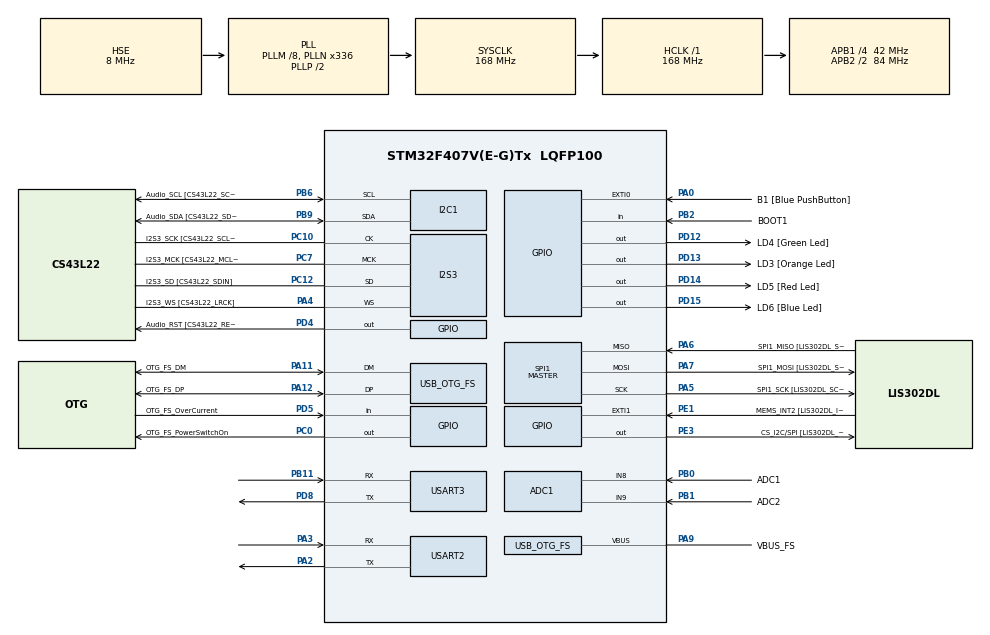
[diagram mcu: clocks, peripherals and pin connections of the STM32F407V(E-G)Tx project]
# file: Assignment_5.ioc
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PA11.GPIO_Speed=GPIO_SPEED_FREQ_LOW
FREERTOS.Queues01=myQueue01,16,uint16_t,0,Dynamic,NULL,NULL;myQueue02,16,uint16_t,0,Dynamic,NULL,NULL
PD12.GPIO_Label=LD4 [Green Led]
PH0-OSC_IN.Signal=RCC_OSC_IN
VP_SYS_VS_tim6.Mode=TIM6
PC10.GPIO_PuPd=GPIO_NOPULL
SPI1.VirtualType=VM_MASTER
PB10.GPIO_PuPd=GPIO_NOPULL
NVIC.TIM6_DAC_IRQn=true\:0\:0\:false\:false\:true\:false\:false\:true
PA10.GPIO_PuPd=GPIO_NOPULL
PC12.Signal=I2S3_SD
PA14.GPIO_Label=SWCLK
PA6.GPIO_Label=SPI1_MISO [LIS302DL_SDO]
PB6.GPIO_Label=Audio_SCL [CS43L22_SCL]
USB_HOST.USBH_USE_OS-CDC_FS=0
PC15-OSC32_OUT.GPIO_Label=PC15-OSC32_OUT
PC3.GPIO_Speed=GPIO_SPEED_FREQ_LOW
RCC.SYSCLKSource=RCC_SYSCLKSOURCE_PLLCLK
PA6.GPIO_Mode=GPIO_MODE_AF_PP
PD14.GPIO_Speed=GPIO_SPEED_FREQ_LOW
FREERTOS.configENABLE_FPU=1
PA4.Mode=Half_Duplex_Master
SPI1.Direction=SPI_DIRECTION_2LINES
I2S3.AudioFreq-Half_Duplex_Master=I2S_AUDIOFREQ_96K
PD4.Signal=GPIO_Output
RCC.APB2TimFreq_Value=168000000
PB6.Signal=I2C1_SCL
Dma.ADC1.0.Direction=DMA_PERIPH_TO_MEMORY
PC7.Signal=I2S3_MCK
PB6.Mode=I2C
PC3.Signal=I2S2_SD
PD8.Signal=USART3_TX
PE1.Signal=GPXTI1
Dma.ADC1.0.MemDataAlignment=DMA_MDATAALIGN_HALFWORD
USB_OTG_FS.phy_itface=HCD_PHY_EMBEDDED
PB2.Signal=GPIO_Input
I2S3.ErrorAudioFreq=-2.34 %
PA5.GPIO_PuPd=GPIO_NOPULL
PB1.GPIO_Label=ADC2
Dma.ADC1.0.PeriphInc=DMA_PINC_DISABLE
I2S3.ErrorAudioFreq-Half_Duplex_Master=0.8 %
SH.ADCx_IN8.0=ADC1_IN8,IN8
PD5.GPIO_Mode=GPIO_MODE_INPUT
PD14.GPIO_PuPd=GPIO_NOPULL
PB2.GPIO_PuPd=GPIO_NOPULL
ADC1.SamplingTime-0\#ChannelRegularConversion=ADC_SAMPLETIME_3CYCLES
SPI1.CalculateBaudRate-Full_Duplex_Master=42.0 MBits/s
Mcu.Package=LQFP100
PB9.Signal=I2C1_SDA
PB1.Signal=ADCx_IN9
NVIC.TimeBase=TIM6_DAC_IRQn
PD12.Signal=GPIO_Output
NVIC.TimeBaseIP=TIM6
PA10.Signal=USB_OTG_FS_ID
PB9.GPIO_PuPd=GPIO_NOPULL
SH.ADCx_IN9.0=ADC1_IN9,IN9
RCC.APB2CLKDivider=RCC_HCLK_DIV2
RCC.APB1TimFreq_Value=84000000
Dma.ADC1.0.FIFOMode=DMA_FIFOMODE_DISABLE
PC12.GPIO_PuPd=GPIO_NOPULL
PA6.GPIO_Speed=GPIO_SPEED_FREQ_LOW
PA12.GPIO_PuPd=GPIO_NOPULL
PA4.GPIO_Label=I2S3_WS [CS43L22_LRCK]
PD15.Signal=GPIO_Output
PC0.PinState=GPIO_PIN_SET
PA5.Mode=Full_Duplex_Master
I2S3.FullDuplexMode=I2S_FULLDUPLEXMODE_DISABLE
Dma.ADC1.0.Instance=DMA2_Stream4
FREERTOS.Tasks01=myTask01,24,128,fvdMyTask01,Default,NULL,Dynamic,NULL,NULL;myTask02,8,128,fvdMyTask02,Default,NULL,Dynamic,NULL,NULL;myTask03,8,128,fvdMyTask03,Default,NULL,Dynamic,NULL,NULL;myTask04,8,128,fvdMyTask04,Default,NULL,Dynamic,NULL,NULL
ADC1.Rank-0\#ChannelRegularConversion=1
PA9.GPIO_Label=VBUS_FS
PB6.GPIO_PuPd=GPIO_NOPULL
PA11.GPIO_Label=OTG_FS_DM
PE1.GPIO_PuPd=GPIO_NOPULL
PC0.Signal=GPIO_Output
RCC.APB1CLKDivider=RCC_HCLK_DIV4
PC14-OSC32_IN.Signal=RCC_OSC32_IN
PA0-WKUP.GPIO_ModeDefaultEXTI=GPIO_MODE_EVT_RISING
PA0-WKUP.GPIO_Label=B1 [Blue PushButton]
PA0-WKUP.Signal=GPXTI0
USB_HOST0.BSP.STBoard=false
PA3.Mode=Asynchronous
PC10.GPIO_Mode=GPIO_MODE_AF_PP
PB10.GPIO_Mode=GPIO_MODE_AF_PP
PB11.Mode=Asynchronous
Dma.ADC1.0.Priority=DMA_PRIORITY_LOW
PA9.Signal=USB_OTG_FS_VBUS
I2S3.VirtualMode=I2S_MODE_MASTER
PC7.GPIO_PuPd=GPIO_NOPULL
PD8.Mode=Asynchronous
PB10.Signal=I2S2_CK
PA5.Signal=SPI1_SCK
PC12.Mode=Half_Duplex_Master
PE1.GPIO_Label=MEMS_INT2 [LIS302DL_INT2]
USB_HOST.VirtualModeFS=Cdc
PA7.GPIO_Speed=GPIO_SPEED_FREQ_LOW
NVIC.SPI1_IRQn=true\:5\:0\:false\:false\:true\:true\:true\:true
PB2.GPIO_Mode=GPIO_MODE_INPUT
SPI1.Mode=SPI_MODE_MASTER
PD4.GPIO_Speed=GPIO_SPEED_FREQ_LOW
PE3.GPIO_PuPd=GPIO_NOPULL
PH1-OSC_OUT.GPIO_Label=PH1-OSC_OUT
PA13.Mode=Serial_Wire
NVIC.DMA2_Stream4_IRQn=true\:0\:0\:false\:false\:true\:false\:false\:true
PC7.GPIO_Label=I2S3_MCK [CS43L22_MCLK]
PA4.Signal=I2S3_WS
PC12.GPIO_Mode=GPIO_MODE_AF_PP
ADC1.master=1
PA5.GPIO_Label=SPI1_SCK [LIS302DL_SCL/SPC]
PE3.GPIO_Speed=GPIO_SPEED_FREQ_LOW
PC12.GPIO_Label=I2S3_SD [CS43L22_SDIN]
PA11.Signal=USB_OTG_FS_DM
ProjectManager.HeapSize=0x200
NVIC.PriorityGroup=NVIC_PRIORITYGROUP_4
PE3.Signal=GPIO_Output
PC3.GPIO_Label=PDM_OUT [MP45DT02_DOUT]
PA0-WKUP.GPIO_PuPd=GPIO_NOPULL
I2S3.Instance=SPI$Index
PB6.GPIO_Speed=GPIO_SPEED_FREQ_LOW
PB0.Signal=ADCx_IN8
SPI1.BaudRatePrescaler-Full_Duplex_Master=SPI_BAUDRATEPRESCALER_2
USB_HOST0.BSP.mode=Output
Mcu.Family=STM32F4
NVIC.USART3_IRQn=true\:5\:0\:false\:false\:true\:true\:true\:true
PC3.GPIO_Mode=GPIO_MODE_AF_PP
PA6.Mode=Full_Duplex_Master
RCC.CortexFreq_Value=168000000
FREERTOS.BinarySemaphores01=BinarySem01,Dynamic,NULL;myBinarySem02,Dynamic,NULL
PB10.GPIO_Speed=GPIO_SPEED_FREQ_LOW
PB6.GPIO_Mode=GPIO_MODE_AF_OD
PD15.GPIO_Speed=GPIO_SPEED_FREQ_LOW
PC10.Signal=I2S3_CK
PA7.GPIO_Mode=GPIO_MODE_AF_PP
PC0.GPIO_Label=OTG_FS_PowerSwitchOn
PA11.Mode=Host_Only
PB0.GPIO_Label=ADC1
PC10.GPIO_Speed=GPIO_SPEED_FREQ_LOW
PA11.GPIO_PuPd=GPIO_NOPULL
PB11.Signal=USART3_RX
ProjectManager.StackSize=0x400
VP_FREERTOS_VS_CMSIS_V2.Mode=CMSIS_V2
SPI1.Mode-Full_Duplex_Master=SPI_MODE_MASTER
VP_TIM7_VS_ClockSourceINT.Mode=Enable_Timer
PD13.Signal=GPIO_Output
NVIC.ADC_IRQn=true\:5\:0\:false\:false\:true\:true\:true\:true
PA12.Signal=USB_OTG_FS_DP
RCC.HCLKFreq_Value=168000000
USB_HOST0.BSP.ip=GPIO
RCC.AHBFreq_Value=168000000
PH0-OSC_IN.Mode=HSE-External-Oscillator
PH0-OSC_IN.GPIO_Label=PH0-OSC_IN
PA9.GPIO_Mode=GPIO_MODE_INPUT
ADC1.Channel-0\#ChannelRegularConversion=ADC_CHANNEL_8
RCC.HSE_VALUE=8000000
PA4.GPIO_PuPd=GPIO_NOPULL
PA4.GPIO_Speed=GPIO_SPEED_FREQ_LOW
PA6.GPIO_PuPd=GPIO_NOPULL
PC14-OSC32_IN.Mode=LSE-External-Oscillator
PA14.Mode=Serial_Wire
PA10.GPIO_Label=OTG_FS_ID
PC7.GPIO_Mode=GPIO_MODE_AF_PP
USB_HOST0.BSP.i2creg=0
PH1-OSC_OUT.Mode=HSE-External-Oscillator
USB_HOST0.BSP.i2caddr=0
PD13.GPIO_Label=LD3 [Orange Led]
PA6.Signal=SPI1_MISO
USART2.VirtualMode=VM_ASYNC
USB_HOST.USBH_HandleTypeDef-CDC_FS=hUsbHostFS
PD5.GPIO_Label=OTG_FS_OverCurrent
NVIC.OTG_FS_IRQn=true\:5\:0\:false\:false\:true\:true\:true\:true
PD15.GPIO_PuPd=GPIO_NOPULL
USB_OTG_FS.VirtualMode=Host_Only
PA10.GPIO_Speed=GPIO_SPEED_FREQ_LOW
USB_HOST0.BSP.name=Drive_VBUS_FS
PB9.GPIO_Speed=GPIO_SPEED_FREQ_LOW
PC14-OSC32_IN.GPIO_Label=PC14-OSC32_IN
PC0.GPIO_PuPd=GPIO_NOPULL
Dma.Request0=ADC1
NVIC.TIM7_IRQn=true\:5\:0\:false\:false\:true\:true\:true\:true
PA12.GPIO_Speed=GPIO_SPEED_FREQ_LOW
PA3.Signal=USART2_RX
PB3.GPIO_Label=SWO
PC15-OSC32_OUT.Mode=LSE-External-Oscillator
PD12.GPIO_Speed=GPIO_SPEED_FREQ_LOW
PD15.GPIO_Label=LD6 [Blue Led]
PA7.Mode=Full_Duplex_Master
PB9.GPIO_Label=Audio_SDA [CS43L22_SDA]
PC10.GPIO_Label=I2S3_SCK [CS43L22_SCLK]
USB_HOST0.BSP.solution=PC0
PC10.Mode=Half_Duplex_Master
USB_HOST.BSP.number=1
PD5.Signal=GPIO_Input
FREERTOS.CountingSemaphores01=CountingSemaTx,2,Dynamic,NULL;CountingSemaRx,2,Dynamic,NULL
PE1.GPIO_ModeDefaultEXTI=GPIO_MODE_EVT_RISING
PA9.GPIO_PuPd=GPIO_NOPULL
NVIC.USART2_IRQn=true\:5\:0\:false\:false\:true\:true\:true\:true
PA12.GPIO_Label=OTG_FS_DP
PA10.GPIO_Mode=GPIO_MODE_AF_PP
PA13.Signal=SYS_JTMS-SWDIO
PD4.GPIO_PuPd=GPIO_NOPULL
Dma.ADC1.0.PeriphDataAlignment=DMA_PDATAALIGN_HALFWORD
PA9.Mode=Activate_VBUS
PC0.GPIO_Speed=GPIO_SPEED_FREQ_LOW
I2S3.RealAudioFreq-Half_Duplex_Master=96.774 KHz
ProjectManager.TargetToolchain=STM32CubeIDE
PB10.GPIO_Label=CLK_IN [MP45DT02_CLK]
Dma.ADC1.0.Mode=DMA_NORMAL
PB9.Mode=I2C
PC15-OSC32_OUT.Signal=RCC_OSC32_OUT
PA7.GPIO_PuPd=GPIO_NOPULL
board=STM32F407G-DISC1
PD13.GPIO_Speed=GPIO_SPEED_FREQ_LOW
PC7.GPIO_Speed=GPIO_SPEED_FREQ_LOW
RCC.VCOOutputFreq_Value=336000000
PB9.GPIO_Mode=GPIO_MODE_AF_OD
PA12.GPIO_Mode=GPIO_MODE_AF_PP
PA4.GPIO_Mode=GPIO_MODE_AF_PP
RCC.APB2Freq_Value=84000000
USB_HOST0.BSP.api=Unknown
PD4.GPIO_Label=Audio_RST [CS43L22_RESET]
PH1-OSC_OUT.Signal=RCC_OSC_OUT
PD13.GPIO_PuPd=GPIO_NOPULL
PD5.GPIO_PuPd=GPIO_NOPULL
PD14.GPIO_Label=LD5 [Red Led]
Mcu.Name=STM32F407V(E-G)Tx
PA2.Signal=USART2_TX
PA13.GPIO_Label=SWDIO
PD14.Signal=GPIO_Output
RCC.48MHZClocksFreq_Value=48000000
PB3.Signal=SYS_JTDO-SWO
RCC.SYSCLKFreq_VALUE=168000000
PA7.GPIO_Label=SPI1_MOSI [LIS302DL_SDA/SDI/SDO]
PA12.Mode=Host_Only
VP_USB_HOST_VS_USB_HOST_CDC_FS.Mode=CDC_FS
USART3.VirtualMode=VM_ASYNC
PA14.Signal=SYS_JTCK-SWCLK
Dma.ADC1.0.MemInc=DMA_MINC_ENABLE
PB2.GPIO_Label=BOOT1
RCC.HSI_VALUE=16000000
PA5.GPIO_Speed=GPIO_SPEED_FREQ_LOW
RCC.PLLQ=7
ADC1.NbrOfConversionFlag=1
I2S3.RealAudioFreq=93.75 KHz
RCC.PLLM=8
RCC.PLLN=336
PA2.Mode=Asynchronous
PE3.GPIO_Label=CS_I2C/SPI [LIS302DL_CS_I2C/SPI]
PC7.Mode=Master_Clock_Activated
PA11.GPIO_Mode=GPIO_MODE_AF_PP
RCC.APB1Freq_Value=42000000
PA5.GPIO_Mode=GPIO_MODE_AF_PP
PC12.GPIO_Speed=GPIO_SPEED_FREQ_LOW
PC3.GPIO_PuPd=GPIO_NOPULL
PD12.GPIO_PuPd=GPIO_NOPULL
PA7.Signal=SPI1_MOSI
USB_HOST0.BSP.instance=PC0

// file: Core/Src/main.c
/* USER CODE BEGIN Header */
/**
  ******************************************************************************
  * @file           : main.c
  * @brief          : Main program body
  ******************************************************************************
  * @attention
  *
  * <h2><center>&copy; Copyright (c) 2021 STMicroelectronics.
  * All rights reserved.</center></h2>
  *
  * This software component is licensed by ST under Ultimate Liberty license
  * SLA0044, the "License"; You may not use this file except in compliance with
  * the License. You may obtain a copy of the License at:
  *                             www.st.com/SLA0044
  *
  ******************************************************************************
  */
/* USER CODE END Header */
#include "main.h"
#include "cmsis_os.h"
#include "usb_host.h"

/* USER CODE BEGIN Includes */
#include "Serial_Driver.h"
/* USER CODE END Includes */

/* USER CODE BEGIN PTD */
typedef struct stMessEnvelope
{
	osMessageQueueId_t pvdRecipientQueueId ; // The queue handle of the recipient thread
	osMessageQueueId_t pvdSendTaskQueueId ; // The queue handle of the sender thread
	uint32_t suinMessSize ; // The size of the message in bytes
	uint8_t * puchMess ; // a pointer to the actual message buffer
	uint8_t uchDynamicMemFlag ; // if TRUE then dynamic allocation is used
}tstMessEnvelope ;

/* USER CODE END PTD */

ADC_HandleTypeDef hadc1;
DMA_HandleTypeDef hdma_adc1;

I2C_HandleTypeDef hi2c1;

I2S_HandleTypeDef hi2s3;

SPI_HandleTypeDef hspi1;

TIM_HandleTypeDef htim7;

UART_HandleTypeDef huart2;
UART_HandleTypeDef huart3;

/* Definitions for myTask01 */
osThreadId_t myTask01Handle;
const osThreadAttr_t myTask01_attributes = {
  .name = "myTask01",
  .priority = (osPriority_t) osPriorityNormal,
  .stack_size = 128 * 4
};
/* Definitions for myTask02 */
osThreadId_t myTask02Handle;
const osThreadAttr_t myTask02_attributes = {
  .name = "myTask02",
  .priority = (osPriority_t) osPriorityLow,
  .stack_size = 128 * 4
};
/* Definitions for myTask03 */
osThreadId_t myTask03Handle;
const osThreadAttr_t myTask03_attributes = {
  .name = "myTask03",
  .priority = (osPriority_t) osPriorityLow,
  .stack_size = 128 * 4
};
/* Definitions for myTask04 */
osThreadId_t myTask04Handle;
const osThreadAttr_t myTask04_attributes = {
  .name = "myTask04",
  .priority = (osPriority_t) osPriorityLow,
  .stack_size = 128 * 4
};
/* Definitions for myQueue01 */
osMessageQueueId_t myQueue01Handle;
const osMessageQueueAttr_t myQueue01_attributes = {
  .name = "myQueue01"
};
/* Definitions for myQueue02 */
osMessageQueueId_t myQueue02Handle;
const osMessageQueueAttr_t myQueue02_attributes = {
  .name = "myQueue02"
};
/* Definitions for BinarySem01 */
osSemaphoreId_t BinarySem01Handle;
const osSemaphoreAttr_t BinarySem01_attributes = {
  .name = "BinarySem01"
};
/* Definitions for myBinarySem02 */
osSemaphoreId_t myBinarySem02Handle;
const osSemaphoreAttr_t myBinarySem02_attributes = {
  .name = "myBinarySem02"
};
/* Definitions for CountingSemaTx */
osSemaphoreId_t CountingSemaTxHandle;
const osSemaphoreAttr_t CountingSemaTx_attributes = {
  .name = "CountingSemaTx"
};
/* Definitions for CountingSemaRx */
osSemaphoreId_t CountingSemaRxHandle;
const osSemaphoreAttr_t CountingSemaRx_attributes = {
  .name = "CountingSemaRx"
};
/* USER CODE BEGIN PV */
uint8_t data[] = "Hello Cruel World\n";

stSERIAL_CHANNELTypeDef *pstSerialChannel2;
/* USER CODE END PV */

void SystemClock_Config(void);
static void MX_GPIO_Init(void);
static void MX_DMA_Init(void);
static void MX_I2C1_Init(void);
static void MX_I2S3_Init(void);
static void MX_SPI1_Init(void);
static void MX_TIM7_Init(void);
static void MX_USART2_UART_Init(void);
static void MX_USART3_UART_Init(void);
static void MX_ADC1_Init(void);
void fvdMyTask01(void *argument);
void fvdMyTask02(void *argument);
void fvdMyTask03(void *argument);
void fvdMyTask04(void *argument);

int main(void)
{

  /* MCU Configuration--------------------------------------------------------*/

  /* Reset of all peripherals, Initializes the Flash interface and the Systick. */
  HAL_Init();

  /* Configure the system clock */
  SystemClock_Config();

  /* Initialize all configured peripherals */
  MX_GPIO_Init();
  MX_DMA_Init();
  MX_I2C1_Init();
  MX_I2S3_Init();
  MX_SPI1_Init();
  MX_TIM7_Init();
  MX_USART2_UART_Init();
  MX_USART3_UART_Init();
  MX_ADC1_Init();

  /* Init scheduler */
  osKernelInitialize();

  /* Create the semaphores(s) */
  /* creation of BinarySem01 */
  BinarySem01Handle = osSemaphoreNew(1, 1, &BinarySem01_attributes);

  /* creation of myBinarySem02 */
  myBinarySem02Handle = osSemaphoreNew(1, 1, &myBinarySem02_attributes);

  /* creation of CountingSemaTx */
  CountingSemaTxHandle = osSemaphoreNew(2, 2, &CountingSemaTx_attributes);

  /* creation of CountingSemaRx */
  CountingSemaRxHandle = osSemaphoreNew(2, 2, &CountingSemaRx_attributes);

  /* Create the queue(s) */
  /* creation of myQueue01 */
  myQueue01Handle = osMessageQueueNew (16, sizeof(uint16_t), &myQueue01_attributes);

  /* creation of myQueue02 */
  myQueue02Handle = osMessageQueueNew (16, sizeof(uint16_t), &myQueue02_attributes);

  /* Create the thread(s) */
  /* creation of myTask01 */
  myTask01Handle = osThreadNew(fvdMyTask01, NULL, &myTask01_attributes);

  /* creation of myTask02 */
  myTask02Handle = osThreadNew(fvdMyTask02, NULL, &myTask02_attributes);

  /* creation of myTask03 */
  myTask03Handle = osThreadNew(fvdMyTask03, NULL, &myTask03_attributes);

  /* creation of myTask04 */
  myTask04Handle = osThreadNew(fvdMyTask04, NULL, &myTask04_attributes);

  /* Start scheduler */
  osKernelStart();

  /* We should never get here as control is now taken by the scheduler */
  /* Infinite loop */
  while (1)
  {

  }
}

void SystemClock_Config(void)
{
  RCC_OscInitTypeDef RCC_OscInitStruct = {0};
  RCC_ClkInitTypeDef RCC_ClkInitStruct = {0};
  RCC_PeriphCLKInitTypeDef PeriphClkInitStruct = {0};

  /** Configure the main internal regulator output voltage
  */
  __HAL_RCC_PWR_CLK_ENABLE();
  __HAL_PWR_VOLTAGESCALING_CONFIG(PWR_REGULATOR_VOLTAGE_SCALE1);
  /** Initializes the RCC Oscillators according to the specified parameters
  * in the RCC_OscInitTypeDef structure.
  */
  RCC_OscInitStruct.OscillatorType = RCC_OSCILLATORTYPE_HSE;
  RCC_OscInitStruct.HSEState = RCC_HSE_ON;
  RCC_OscInitStruct.PLL.PLLState = RCC_PLL_ON;
  RCC_OscInitStruct.PLL.PLLSource = RCC_PLLSOURCE_HSE;
  RCC_OscInitStruct.PLL.PLLM = 8;
  RCC_OscInitStruct.PLL.PLLN = 336;
  RCC_OscInitStruct.PLL.PLLP = RCC_PLLP_DIV2;
  RCC_OscInitStruct.PLL.PLLQ = 7;
  if (HAL_RCC_OscConfig(&RCC_OscInitStruct) != HAL_OK)
  {
    Error_Handler();
  }
  /** Initializes the CPU, AHB and APB buses clocks
  */
  RCC_ClkInitStruct.ClockType = RCC_CLOCKTYPE_HCLK|RCC_CLOCKTYPE_SYSCLK
                              |RCC_CLOCKTYPE_PCLK1|RCC_CLOCKTYPE_PCLK2;
  RCC_ClkInitStruct.SYSCLKSource = RCC_SYSCLKSOURCE_PLLCLK;
  RCC_ClkInitStruct.AHBCLKDivider = RCC_SYSCLK_DIV1;
  RCC_ClkInitStruct.APB1CLKDivider = RCC_HCLK_DIV4;
  RCC_ClkInitStruct.APB2CLKDivider = RCC_HCLK_DIV2;

  if (HAL_RCC_ClockConfig(&RCC_ClkInitStruct, FLASH_LATENCY_5) != HAL_OK)
  {
    Error_Handler();
  }
  PeriphClkInitStruct.PeriphClockSelection = RCC_PERIPHCLK_I2S;
  PeriphClkInitStruct.PLLI2S.PLLI2SN = 192;
  PeriphClkInitStruct.PLLI2S.PLLI2SR = 2;
  if (HAL_RCCEx_PeriphCLKConfig(&PeriphClkInitStruct) != HAL_OK)
  {
    Error_Handler();
  }
}

static void MX_ADC1_Init(void)
{

  ADC_ChannelConfTypeDef sConfig = {0};

  /** Configure the global features of the ADC (Clock, Resolution, Data Alignment and number of conversion)
  */
  hadc1.Instance = ADC1;
  hadc1.Init.ClockPrescaler = ADC_CLOCK_SYNC_PCLK_DIV4;
  hadc1.Init.Resolution = ADC_RESOLUTION_12B;
  hadc1.Init.ScanConvMode = DISABLE;
  hadc1.Init.ContinuousConvMode = DISABLE;
  hadc1.Init.DiscontinuousConvMode = DISABLE;
  hadc1.Init.ExternalTrigConvEdge = ADC_EXTERNALTRIGCONVEDGE_NONE;
  hadc1.Init.ExternalTrigConv = ADC_SOFTWARE_START;
  hadc1.Init.DataAlign = ADC_DATAALIGN_RIGHT;
  hadc1.Init.NbrOfConversion = 1;
  hadc1.Init.DMAContinuousRequests = DISABLE;
  hadc1.Init.EOCSelection = ADC_EOC_SINGLE_CONV;
  if (HAL_ADC_Init(&hadc1) != HAL_OK)
  {
    Error_Handler();
  }
  /** Configure for the selected ADC regular channel its corresponding rank in the sequencer and its sample time.
  */
  sConfig.Channel = ADC_CHANNEL_8;
  sConfig.Rank = 1;
  sConfig.SamplingTime = ADC_SAMPLETIME_3CYCLES;
  if (HAL_ADC_ConfigChannel(&hadc1, &sConfig) != HAL_OK)
  {
    Error_Handler();
  }

}

static void MX_I2C1_Init(void)
{

  hi2c1.Instance = I2C1;
  hi2c1.Init.ClockSpeed = 100000;
  hi2c1.Init.DutyCycle = I2C_DUTYCYCLE_2;
  hi2c1.Init.OwnAddress1 = 0;
  hi2c1.Init.AddressingMode = I2C_ADDRESSINGMODE_7BIT;
  hi2c1.Init.DualAddressMode = I2C_DUALADDRESS_DISABLE;
  hi2c1.Init.OwnAddress2 = 0;
  hi2c1.Init.GeneralCallMode = I2C_GENERALCALL_DISABLE;
  hi2c1.Init.NoStretchMode = I2C_NOSTRETCH_DISABLE;
  if (HAL_I2C_Init(&hi2c1) != HAL_OK)
  {
    Error_Handler();
  }

}

static void MX_I2S3_Init(void)
{

  hi2s3.Instance = SPI3;
  hi2s3.Init.Mode = I2S_MODE_MASTER_TX;
  hi2s3.Init.Standard = I2S_STANDARD_PHILIPS;
  hi2s3.Init.DataFormat = I2S_DATAFORMAT_16B;
  hi2s3.Init.MCLKOutput = I2S_MCLKOUTPUT_ENABLE;
  hi2s3.Init.AudioFreq = I2S_AUDIOFREQ_96K;
  hi2s3.Init.CPOL = I2S_CPOL_LOW;
  hi2s3.Init.ClockSource = I2S_CLOCK_PLL;
  hi2s3.Init.FullDuplexMode = I2S_FULLDUPLEXMODE_DISABLE;
  if (HAL_I2S_Init(&hi2s3) != HAL_OK)
  {
    Error_Handler();
  }

}

static void MX_SPI1_Init(void)
{

  /* SPI1 parameter configuration*/
  hspi1.Instance = SPI1;
  hspi1.Init.Mode = SPI_MODE_MASTER;
  hspi1.Init.Direction = SPI_DIRECTION_2LINES;
  hspi1.Init.DataSize = SPI_DATASIZE_8BIT;
  hspi1.Init.CLKPolarity = SPI_POLARITY_LOW;
  hspi1.Init.CLKPhase = SPI_PHASE_1EDGE;
  hspi1.Init.NSS = SPI_NSS_SOFT;
  hspi1.Init.BaudRatePrescaler = SPI_BAUDRATEPRESCALER_2;
  hspi1.Init.FirstBit = SPI_FIRSTBIT_MSB;
  hspi1.Init.TIMode = SPI_TIMODE_DISABLE;
  hspi1.Init.CRCCalculation = SPI_CRCCALCULATION_DISABLE;
  hspi1.Init.CRCPolynomial = 10;
  if (HAL_SPI_Init(&hspi1) != HAL_OK)
  {
    Error_Handler();
  }

}

static void MX_TIM7_Init(void)
{

  TIM_MasterConfigTypeDef sMasterConfig = {0};

  htim7.Instance = TIM7;
  htim7.Init.Prescaler = 0;
  htim7.Init.CounterMode = TIM_COUNTERMODE_UP;
  htim7.Init.Period = 65535;
  htim7.Init.AutoReloadPreload = TIM_AUTORELOAD_PRELOAD_DISABLE;
  if (HAL_TIM_Base_Init(&htim7) != HAL_OK)
  {
    Error_Handler();
  }
  sMasterConfig.MasterOutputTrigger = TIM_TRGO_RESET;
  sMasterConfig.MasterSlaveMode = TIM_MASTERSLAVEMODE_DISABLE;
  if (HAL_TIMEx_MasterConfigSynchronization(&htim7, &sMasterConfig) != HAL_OK)
  {
    Error_Handler();
  }

}

static void MX_USART2_UART_Init(void)
{

  huart2.Instance = USART2;
  huart2.Init.BaudRate = 115200;
  huart2.Init.WordLength = UART_WORDLENGTH_8B;
  huart2.Init.StopBits = UART_STOPBITS_1;
  huart2.Init.Parity = UART_PARITY_NONE;
  huart2.Init.Mode = UART_MODE_TX_RX;
  huart2.Init.HwFlowCtl = UART_HWCONTROL_NONE;
  huart2.Init.OverSampling = UART_OVERSAMPLING_16;
  if (HAL_UART_Init(&huart2) != HAL_OK)
  {
    Error_Handler();
  }

}

static void MX_USART3_UART_Init(void)
{

  huart3.Instance = USART3;
  huart3.Init.BaudRate = 115200;
  huart3.Init.WordLength = UART_WORDLENGTH_8B;
  huart3.Init.StopBits = UART_STOPBITS_1;
  huart3.Init.Parity = UART_PARITY_NONE;
  huart3.Init.Mode = UART_MODE_TX_RX;
  huart3.Init.HwFlowCtl = UART_HWCONTROL_NONE;
  huart3.Init.OverSampling = UART_OVERSAMPLING_16;
  if (HAL_UART_Init(&huart3) != HAL_OK)
  {
    Error_Handler();
  }

}

static void MX_DMA_Init(void)
{

  /* DMA controller clock enable */
  __HAL_RCC_DMA2_CLK_ENABLE();

  /* DMA interrupt init */
  /* DMA2_Stream4_IRQn interrupt configuration */
  HAL_NVIC_SetPriority(DMA2_Stream4_IRQn, 0, 0);
  HAL_NVIC_EnableIRQ(DMA2_Stream4_IRQn);

}

static void MX_GPIO_Init(void)
{
  GPIO_InitTypeDef GPIO_InitStruct = {0};

  /* GPIO Ports Clock Enable */
  __HAL_RCC_GPIOE_CLK_ENABLE();
  __HAL_RCC_GPIOC_CLK_ENABLE();
  __HAL_RCC_GPIOH_CLK_ENABLE();
  __HAL_RCC_GPIOA_CLK_ENABLE();
  __HAL_RCC_GPIOB_CLK_ENABLE();
  __HAL_RCC_GPIOD_CLK_ENABLE();

  /*Configure GPIO pin Output Level */
  HAL_GPIO_WritePin(CS_I2C_SPI_GPIO_Port, CS_I2C_SPI_Pin, GPIO_PIN_RESET);

  /*Configure GPIO pin Output Level */
  HAL_GPIO_WritePin(OTG_FS_PowerSwitchOn_GPIO_Port, OTG_FS_PowerSwitchOn_Pin, GPIO_PIN_SET);

  /*Configure GPIO pin Output Level */
  HAL_GPIO_WritePin(GPIOD, LD4_Pin|LD3_Pin|LD5_Pin|LD6_Pin
                          |Audio_RST_Pin, GPIO_PIN_RESET);

  /*Configure GPIO pin : CS_I2C_SPI_Pin */
  GPIO_InitStruct.Pin = CS_I2C_SPI_Pin;
  GPIO_InitStruct.Mode = GPIO_MODE_OUTPUT_PP;
  GPIO_InitStruct.Pull = GPIO_NOPULL;
  GPIO_InitStruct.Speed = GPIO_SPEED_FREQ_LOW;
  HAL_GPIO_Init(CS_I2C_SPI_GPIO_Port, &GPIO_InitStruct);

  /*Configure GPIO pin : OTG_FS_PowerSwitchOn_Pin */
  GPIO_InitStruct.Pin = OTG_FS_PowerSwitchOn_Pin;
  GPIO_InitStruct.Mode = GPIO_MODE_OUTPUT_PP;
  GPIO_InitStruct.Pull = GPIO_NOPULL;
  GPIO_InitStruct.Speed = GPIO_SPEED_FREQ_LOW;
  HAL_GPIO_Init(OTG_FS_PowerSwitchOn_GPIO_Port, &GPIO_InitStruct);

  /*Configure GPIO pin : PDM_OUT_Pin */
  GPIO_InitStruct.Pin = PDM_OUT_Pin;
  GPIO_InitStruct.Mode = GPIO_MODE_AF_PP;
  GPIO_InitStruct.Pull = GPIO_NOPULL;
  GPIO_InitStruct.Speed = GPIO_SPEED_FREQ_LOW;
  GPIO_InitStruct.Alternate = GPIO_AF5_SPI2;
  HAL_GPIO_Init(PDM_OUT_GPIO_Port, &GPIO_InitStruct);

  /*Configure GPIO pin : B1_Pin */
  GPIO_InitStruct.Pin = B1_Pin;
  GPIO_InitStruct.Mode = GPIO_MODE_EVT_RISING;
  GPIO_InitStruct.Pull = GPIO_NOPULL;
  HAL_GPIO_Init(B1_GPIO_Port, &GPIO_InitStruct);

  /*Configure GPIO pin : BOOT1_Pin */
  GPIO_InitStruct.Pin = BOOT1_Pin;
  GPIO_InitStruct.Mode = GPIO_MODE_INPUT;
  GPIO_InitStruct.Pull = GPIO_NOPULL;
  HAL_GPIO_Init(BOOT1_GPIO_Port, &GPIO_InitStruct);

  /*Configure GPIO pin : CLK_IN_Pin */
  GPIO_InitStruct.Pin = CLK_IN_Pin;
  GPIO_InitStruct.Mode = GPIO_MODE_AF_PP;
  GPIO_InitStruct.Pull = GPIO_NOPULL;
  GPIO_InitStruct.Speed = GPIO_SPEED_FREQ_LOW;
  GPIO_InitStruct.Alternate = GPIO_AF5_SPI2;
  HAL_GPIO_Init(CLK_IN_GPIO_Port, &GPIO_InitStruct);

  /*Configure GPIO pins : LD4_Pin LD3_Pin LD5_Pin LD6_Pin
                           Audio_RST_Pin */
  GPIO_InitStruct.Pin = LD4_Pin|LD3_Pin|LD5_Pin|LD6_Pin
                          |Audio_RST_Pin;
  GPIO_InitStruct.Mode = GPIO_MODE_OUTPUT_PP;
  GPIO_InitStruct.Pull = GPIO_NOPULL;
  GPIO_InitStruct.Speed = GPIO_SPEED_FREQ_LOW;
  HAL_GPIO_Init(GPIOD, &GPIO_InitStruct);

  /*Configure GPIO pin : OTG_FS_OverCurrent_Pin */
  GPIO_InitStruct.Pin = OTG_FS_OverCurrent_Pin;
  GPIO_InitStruct.Mode = GPIO_MODE_INPUT;
  GPIO_InitStruct.Pull = GPIO_NOPULL;
  HAL_GPIO_Init(OTG_FS_OverCurrent_GPIO_Port, &GPIO_InitStruct);

  /*Configure GPIO pin : MEMS_INT2_Pin */
  GPIO_InitStruct.Pin = MEMS_INT2_Pin;
  GPIO_InitStruct.Mode = GPIO_MODE_EVT_RISING;
  GPIO_InitStruct.Pull = GPIO_NOPULL;
  HAL_GPIO_Init(MEMS_INT2_GPIO_Port, &GPIO_InitStruct);

}

/* USER CODE BEGIN 4 */
//uint8_t data[] = "Hello Cruel World\n";
//
//
//stSERIAL_CHANNELTypeDef *pstSerialChannel2;
/* USER CODE END 4 */

/* USER CODE BEGIN Header_fvdMyTask01 */
/**
  * @brief  Function implementing the myTask01 thread.
  * 		This task is for Exercise 1 - Interrupt Serial Handler Integration
  * @param  argument: Not used
  * @retval None
  */
/* USER CODE END Header_fvdMyTask01 */
void fvdMyTask01(void *argument)
{
  /* init code for USB_HOST */
  MX_USB_HOST_Init();
  /* USER CODE BEGIN 5 */
  char chRxChar;
  // Create the external USART (interrupt driven)
  pstSerialChannel2 = pstCreateSerialChannel(&huart2, RX_BUFFER_SIZE, TX_BUFFER_SIZE);
  fvdEnableSerialChInterrupts(pstSerialChannel2);
  /* Infinite loop */
  for(;;)
  {

	chRxChar = fchGetChar(pstSerialChannel2, NON_BLOCKING);

	if ((uint8_t)chRxChar != 255)
	{
		fuinPutChar(pstSerialChannel2, chRxChar, BLOCKING);
	}
	//    fboPrintString(pstSerialChannel2, (char *)data, NON_BLOCKING);
	//    HAL_Delay(250);
	//    HAL_GPIO_TogglePin(GPIOD, GREEN_LED); // Green LED
  }
  /* USER CODE END 5 */
}

void fvdMyTask02(void *argument)
{
  /* USER CODE BEGIN fvdMyTask02 */
  /* Infinite loop */
  for(;;)
  {
	  HAL_GPIO_TogglePin(GPIOD, RED_LED);
	  HAL_GPIO_TogglePin(GPIOD, BLUE_LED);
	  HAL_GPIO_TogglePin(GPIOD, GREEN_LED);
    osDelay(1000);
  }
  /* USER CODE END fvdMyTask02 */
}

void fvdMyTask03(void *argument)
{
  for(;;)
  {
    osDelay(1);
  }
}

void fvdMyTask04(void *argument)
{
  for(;;)
  {
    osDelay(1);
  }
}

 /**
  * @brief  Period elapsed callback in non blocking mode
  * @note   This function is called  when TIM6 interrupt took place, inside
  * HAL_TIM_IRQHandler(). It makes a direct call to HAL_IncTick() to increment
  * a global variable "uwTick" used as application time base.
  * @param  htim : TIM handle
  * @retval None
  */
void HAL_TIM_PeriodElapsedCallback(TIM_HandleTypeDef *htim)
{
  if (htim->Instance == TIM6) {
    HAL_IncTick();
  }
}

void Error_Handler(void)
{
  __disable_irq();
  while (1)
  {
  }
}

/************************ (C) COPYRIGHT STMicroelectronics *****END OF FILE****/
